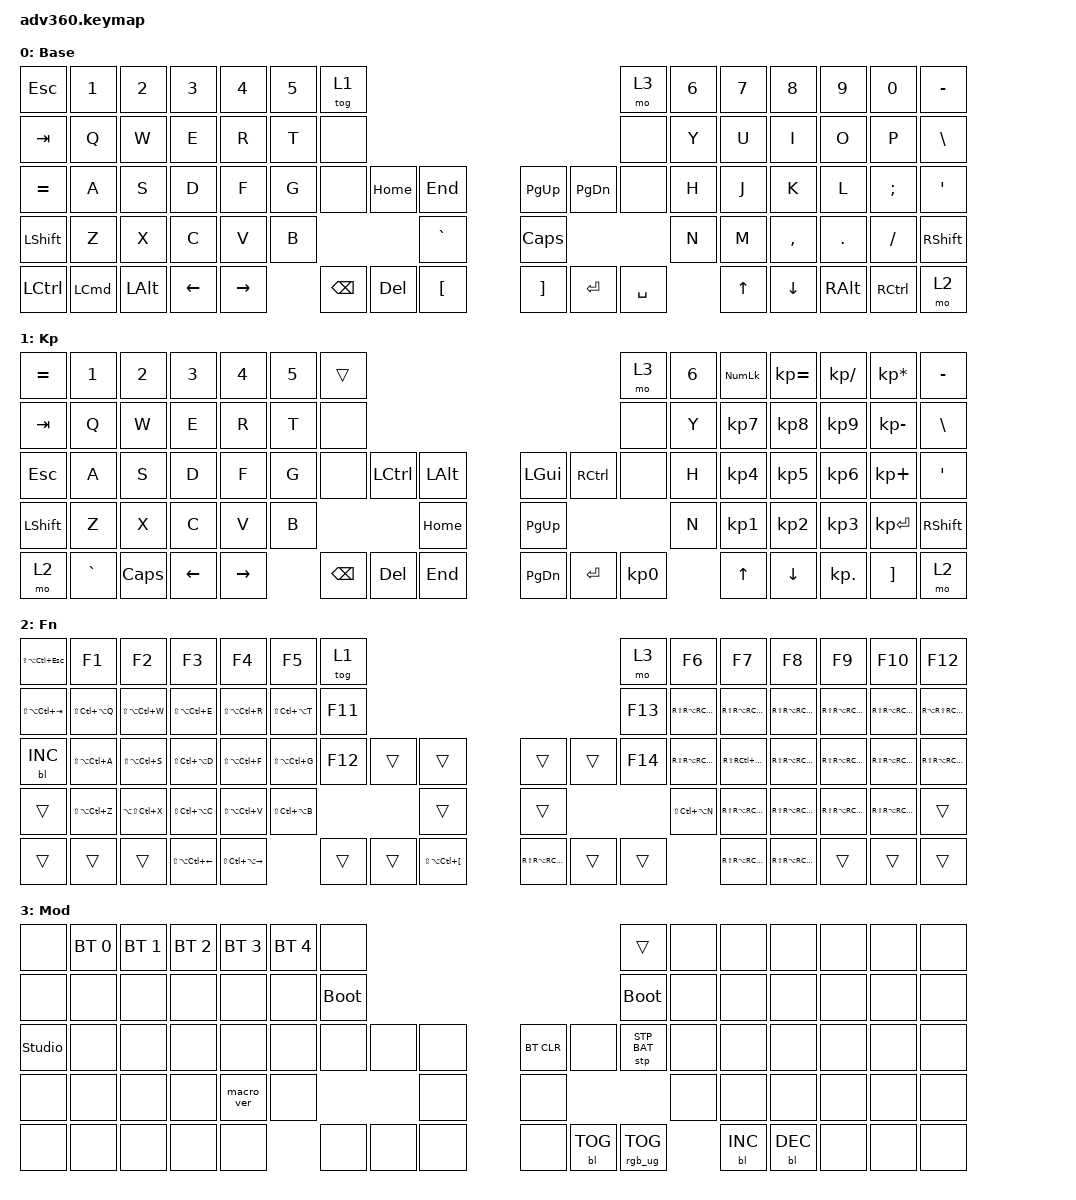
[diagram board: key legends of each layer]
#include <dt-bindings/zmk/stp.h>
#include <behaviors.dtsi>
#include <dt-bindings/zmk/backlight.h>
#include <dt-bindings/zmk/bt.h>
#include <dt-bindings/zmk/keys.h>
#include <dt-bindings/zmk/rgb.h>

/ {
    behaviors {
        #include "macros.dtsi"
      #include "version.dtsi"

        hm: homerow_mods {
            compatible = "zmk,behavior-hold-tap";
            label = "HOMEROW_MODS";
            #binding-cells = <2>;
            tapping-term-ms = <200>;
            quick_tap_ms = <175>;
            flavor = "tap-preferred";
            bindings = <&kp>, <&kp>;
        };
    };

    keymap {
        compatible = "zmk,keymap";

        default_layer {
            display-name = "Base";
            bindings = <
&kp ESCAPE  &kp N1            &kp N2        &kp N3    &kp N4     &kp N5  &tog 1                                                                      &mo 3      &kp N6  &kp N7  &kp N8     &kp N9         &kp N0     &kp MINUS
&kp TAB     &kp Q             &kp W         &kp E     &kp R      &kp T   &none                                                                       &none      &kp Y   &kp U   &kp I      &kp O          &kp P      &kp BSLH
&kp EQUAL   &kp A             &kp S         &kp D     &kp F      &kp G   &none     &kp HOME  &kp END               &kp PAGE_UP        &kp PAGE_DOWN  &none      &kp H   &kp J   &kp K      &kp L          &kp SEMI   &kp SQT
&kp LSHFT   &kp Z             &kp X         &kp C     &kp V      &kp B                       &kp GRAVE             &kp CAPS                                     &kp N   &kp M   &kp COMMA  &kp DOT        &kp FSLH   &kp RSHFT
&kp LCTRL   &kp LEFT_COMMAND  &kp LEFT_ALT  &kp LEFT  &kp RIGHT          &kp BSPC  &kp DEL   &kp LEFT_BRACKET      &kp RIGHT_BRACKET  &kp ENTER      &kp SPACE          &kp UP  &kp DOWN   &kp RIGHT_ALT  &kp RCTRL  &mo 2
            >;
        };

        keypad {
            display-name = "Kp";
            bindings = <
&kp EQUAL  &kp N1     &kp N2    &kp N3    &kp N4     &kp N5  &trans                                                   &mo 3      &kp N6  &kp KP_NUM  &kp KP_EQUAL  &kp KP_DIVIDE  &kp KP_MULTIPLY  &kp MINUS
&kp TAB    &kp Q      &kp W     &kp E     &kp R      &kp T   &none                                                    &none      &kp Y   &kp KP_N7   &kp KP_N8     &kp KP_N9      &kp KP_MINUS     &kp BSLH
&kp ESC    &kp A      &kp S     &kp D     &kp F      &kp G   &none     &kp LCTRL  &kp LALT      &kp LGUI   &kp RCTRL  &none      &kp H   &kp KP_N4   &kp KP_N5     &kp KP_N6      &kp KP_PLUS      &kp SQT
&kp LSHFT  &kp Z      &kp X     &kp C     &kp V      &kp B                        &kp HOME      &kp PG_UP                        &kp N   &kp KP_N1   &kp KP_N2     &kp KP_N3      &kp KP_ENTER     &kp RSHFT
&mo 2      &kp GRAVE  &kp CAPS  &kp LEFT  &kp RIGHT          &kp BSPC  &kp DEL    &kp END       &kp PG_DN  &kp ENTER  &kp KP_N0          &kp UP      &kp DOWN      &kp KP_DOT     &kp RBKT         &mo 2
            >;
        };

        fn {
            display-name = "Fn";
            bindings = <
&kp LS(LA(LC(ESCAPE)))  &kp F1             &kp F2             &kp F3                      &kp F4                       &kp F5             &tog 1                                                                                    &mo 3    &kp F6             &kp F7                    &kp F8                      &kp F9                  &kp F10                    &kp F12
&kp LS(LA(LC(TAB)))     &kp LS(LC(LA(Q)))  &kp LS(LA(LC(W)))  &kp LS(LA(LC(E)))           &kp LS(LA(LC(R)))            &kp LS(LC(LA(T)))  &kp F11                                                                                   &kp F13  &kp RS(RA(RC(Y)))  &kp RS(RA(RC(U)))         &kp RS(RA(RC(I)))           &kp RS(RA(RC(O)))       &kp RS(RA(RC(P)))          &kp RA(RS(RC(MINUS)))
&bl BL_INC              &kp LS(LA(LC(A)))  &kp LS(LA(LC(S)))  &kp LS(LC(LA(D)))           &kp LS(LA(LC(F)))            &kp LS(LA(LC(G)))  &kp F12  &trans  &trans                            &trans                         &trans  &kp F14  &kp RS(RA(RC(H)))  &kp RS(RC(RA(J)))         &kp RS(RA(RC(K)))           &kp RS(RA(RC(L)))       &kp RS(RA(RC(SEMICOLON)))  &kp RS(RA(RC(SQT)))
&trans                  &kp LS(LA(LC(Z)))  &kp LA(LS(LC(X)))  &kp LS(LC(LA(C)))           &kp LS(LA(LC(V)))            &kp LS(LC(LA(B)))                   &trans                            &trans                                          &kp LS(LC(LA(N)))  &kp RS(RA(RC(M)))         &kp RS(RA(RC(COMMA)))       &kp RS(RA(RC(PERIOD)))  &kp RS(RA(RC(SLASH)))      &trans
&trans                  &trans             &trans             &kp LS(LA(LC(LEFT_ARROW)))  &kp LS(LC(LA(RIGHT_ARROW)))                     &trans   &trans  &kp LS(LA(LC(LEFT_BRACKET)))      &kp RS(RA(RC(RIGHT_BRACKET)))  &trans  &trans                      &kp RS(RA(RC(UP_ARROW)))  &kp RS(RA(RC(DOWN_ARROW)))  &trans                  &trans                     &trans
            >;
        };

        mod {
            display-name = "Mod";
            bindings = <
&none           &bt BT_SEL 0  &bt BT_SEL 1  &bt BT_SEL 2  &bt BT_SEL 3  &bt BT_SEL 4  &none                                                  &trans           &none  &none       &none       &none  &none  &none
&none           &none         &none         &none         &none         &none         &bootloader                                            &bootloader      &none  &none       &none       &none  &none  &none
&studio_unlock  &none         &none         &none         &none         &none         &none        &none  &none      &bt BT_CLR  &none       &stp STP_BAT     &none  &none       &none       &none  &none  &none
&none           &none         &none         &none         &macro_ver    &none                             &none      &none                                    &none  &none       &none       &none  &none  &none
&none           &none         &none         &none         &none                       &none        &none  &none      &none       &bl BL_TOG  &rgb_ug RGB_TOG         &bl BL_INC  &bl BL_DEC  &none  &none  &none
            >;
        };

        extra1 {
            display-name = "Red";
            status = "reserved";
        };

        extra2 {
            display-name = "Purple";
            status = "reserved";
        };

        extra3 {
            display-name = "Cyan";
            status = "reserved";
        };

        extra4 {
            display-name = "Yellow";
            status = "reserved";
        };
    };
};
